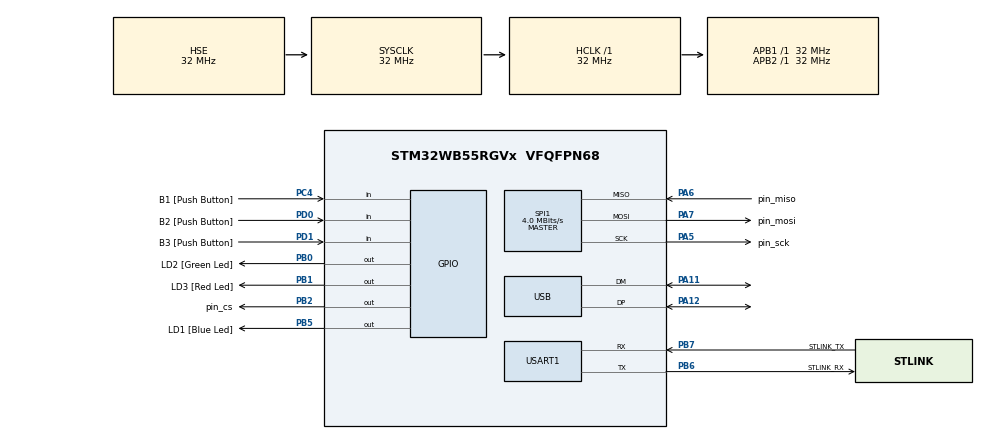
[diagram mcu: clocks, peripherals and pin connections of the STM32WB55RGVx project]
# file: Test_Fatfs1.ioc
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FATFS._MAX_SS=4096
FATFS._MIN_SS=4096
Mcu.Family=STM32WB
Mcu.Name=STM32WB55RGVx
Mcu.Package=VFQFPN68
NVIC.PriorityGroup=NVIC_PRIORITYGROUP_4
OSC_IN.Mode=HSE-External-Oscillator
OSC_IN.Signal=RCC_OSC_IN
OSC_OUT.Mode=HSE-External-Oscillator
OSC_OUT.Signal=RCC_OSC_OUT
PA11.Mode=Device
PA11.Signal=USB_DM
PA12.Mode=Device
PA12.Signal=USB_DP
PA13.GPIO_Label=JTMS
PA13.Mode=Trace_Asynchronous_SW
PA13.Signal=SYS_JTMS-SWDIO
PA14.GPIO_Label=JTCK
PA14.Mode=Trace_Asynchronous_SW
PA14.Signal=SYS_JTCK-SWCLK
PA5.GPIO_Label=pin_sck
PA5.Mode=Full_Duplex_Master
PA5.Signal=SPI1_SCK
PA6.GPIO_Label=pin_miso
PA6.Mode=Full_Duplex_Master
PA6.Signal=SPI1_MISO
PA7.GPIO_Label=pin_mosi
PA7.Mode=Full_Duplex_Master
PA7.Signal=SPI1_MOSI
PB0.GPIO_Label=LD2 [Green Led]
PB0.Signal=GPIO_Output
PB1.GPIO_Label=LD3 [Red Led]
PB1.Signal=GPIO_Output
PB2.GPIO_Label=pin_cs
PB2.GPIO_PuPd=GPIO_PULLUP
PB2.Signal=GPIO_Output
PB3.GPIO_Label=JTDO
PB3.Mode=Trace_Asynchronous_SW
PB3.Signal=SYS_JTDO-SWO
PB5.GPIO_Label=LD1 [Blue Led]
PB5.Signal=GPIO_Output
PB6.GPIO_Label=STLINK_RX
PB6.GPIO_PuPd=GPIO_PULLUP
PB6.Mode=Asynchronous
PB6.Signal=USART1_TX
PB7.GPIO_Label=STLINK_TX
PB7.GPIO_PuPd=GPIO_PULLUP
PB7.Mode=Asynchronous
PB7.Signal=USART1_RX
PC13.Mode=SYS_WakeUp1
PC13.Signal=SYS_WKUP2
PC14-OSC32_IN.Mode=LSE-External-Oscillator
PC14-OSC32_IN.Signal=RCC_OSC32_IN
PC15-OSC32_OUT.Mode=LSE-External-Oscillator
PC15-OSC32_OUT.Signal=RCC_OSC32_OUT
PC4.GPIO_Label=B1 [Push Button]
PC4.Signal=GPIO_Input
PD0.GPIO_Label=B2 [Push Button]
PD0.Signal=GPIO_Input
PD1.GPIO_Label=B3 [Push Button]
PD1.Signal=GPIO_Input
ProjectManager.HeapSize=0x200
ProjectManager.StackSize=0x400
ProjectManager.TargetToolchain=STM32CubeIDE
RCC.ADCFreq_Value=48000000
RCC.AHBFreq_Value=32000000
RCC.APB1Freq_Value=32000000
RCC.APB1TimFreq_Value=32000000
RCC.APB2Freq_Value=32000000
RCC.APB2TimFreq_Value=32000000
RCC.APB3Freq_Value=16000000
RCC.CortexFreq_Value=32000000
RCC.HCLKFreq_Value=32000000
RCC.HSE_VALUE=32000000
RCC.HSI48_VALUE=48000000
RCC.HSI_VALUE=16000000
RCC.PLLN=32
RCC.PLLSAI1N=24
RCC.SMPSCLockSelectionVirtual=RCC_SMPSCLKSOURCE_HSI
RCC.SMPSCLockSelectionVirtualVirtual=RCC_SMPSCLKSOURCE_HSI
RCC.SMPSDivider=1
RCC.SYSCLKFreq_VALUE=32000000
RCC.SYSCLKSource=RCC_SYSCLKSOURCE_HSE
RCC.USBFreq_Value=48000000
RCC.VCOOutputFreq_Value=128000000
SPI1.BaudRatePrescaler=SPI_BAUDRATEPRESCALER_8
SPI1.CalculateBaudRate=4.0 MBits/s
SPI1.DataSize=SPI_DATASIZE_8BIT
SPI1.Direction=SPI_DIRECTION_2LINES
SPI1.Mode=SPI_MODE_MASTER
SPI1.VirtualType=VM_MASTER
USART1.VirtualMode-Asynchronous=VM_ASYNC
USART1.WordLength=WORDLENGTH_7B
VP_FATFS_VS_Generic.Mode=User_defined
board=P-NUCLEO-WB55-Nucleo

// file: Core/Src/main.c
/* USER CODE BEGIN Header */
/**
  ******************************************************************************
  * @file           : main.c
  * @brief          : Main program body
  ******************************************************************************
  * @attention
  *
  * <h2><center>&copy; Copyright (c) 2022 STMicroelectronics.
  * All rights reserved.</center></h2>
  *
  * This software component is licensed by ST under BSD 3-Clause license,
  * the "License"; You may not use this file except in compliance with the
  * License. You may obtain a copy of the License at:
  *                        opensource.org/licenses/BSD-3-Clause
  *
  ******************************************************************************
  */
/* USER CODE END Header */
#include "main.h"
#include "app_fatfs.h"

/* USER CODE BEGIN Includes */
#include "flash_driver.h"
/* USER CODE END Includes */

SPI_HandleTypeDef hspi1;

UART_HandleTypeDef huart1;

PCD_HandleTypeDef hpcd_USB_FS;

void SystemClock_Config(void);
static void MX_GPIO_Init(void);
static void MX_USART1_UART_Init(void);
static void MX_USB_PCD_Init(void);
static void MX_SPI1_Init(void);

/* USER CODE BEGIN 0 */
extern FATFS USERFatFs;    /* File system object for USER logical drive */
extern FIL USERFile;       /* File  object for USER */
extern char USERPath[4];   /* USER logical drive path */

bool Comparer_Sector(uint8_t *compare_array, uint32_t sector_number);
/* USER CODE END 0 */

int main(void)
{

  /* MCU Configuration--------------------------------------------------------*/

  /* Reset of all peripherals, Initializes the Flash interface and the Systick. */
  HAL_Init();

  /* Configure the system clock */
  SystemClock_Config();

  /* Initialize all configured peripherals */
  MX_GPIO_Init();
  MX_USART1_UART_Init();
  MX_USB_PCD_Init();
  MX_SPI1_Init();
  if (MX_FATFS_Init() != APP_OK) {
    Error_Handler();
  }
  /* USER CODE BEGIN 2 */
  uint8_t wtext[] = "text to write logical disk"; /* File write buffer */
  uint8_t rtext[_MAX_SS];/* File read buffer */
  uint32_t byteswritten, bytesread; /* File write/read counts */
  uint32_t tickstart = HAL_GetTick();
  uint32_t duration = HAL_GetTick() - tickstart;

  FRESULT fat_result = FR_NO_FILESYSTEM;
  fat_result = f_mount(&USERFatFs, (TCHAR const*)USERPath, 0);
  fat_result = f_mkfs((TCHAR const*)USERPath, FM_ANY, 4096, rtext, sizeof(rtext));

  // Create File
  tickstart = HAL_GetTick();
  fat_result = f_open(&USERFile, "STM32.TXT", FA_CREATE_ALWAYS | FA_WRITE );
  fat_result = f_write(&USERFile, wtext, strlen((char *)wtext), (void *)&byteswritten);
  f_close(&USERFile);
  duration = HAL_GetTick() - tickstart;

  // Read File
  tickstart = HAL_GetTick();
  uint8_t read_data[1000];
  uint8_t number_read =1000;
  fat_result = f_open(&USERFile, "STM32.TXT", FA_READ);
  fat_result = f_read(&USERFile, read_data, sizeof(read_data), (UINT*)&bytesread);
  duration = HAL_GetTick() - tickstart;

//  Test_Flash(); HAL_Delay(100);
//
//  uint32_t wbytes; /* File write counts */
//  uint8_t wtext[] = "text to write logical disk"; /* File write buffer */
////  uint8_t wbuffer[32768] ; /* working buffer */c
//  uint8_t rtext[_MAX_SS];/* File read buffer */
//
//  FRESULT fat_result = FR_NO_FILESYSTEM;
//  fat_result = f_mount(&USERFatFs, (TCHAR const*)USERPath, 0);
//  HAL_Delay(100);
//  fat_result = f_mkfs((TCHAR const*)USERPath, FM_ANY, 4096, rtext, sizeof(rtext));
//  HAL_Delay(100);
//  fat_result = f_open(&USERFile, "STM32.TXT", FA_CREATE_ALWAYS | FA_WRITE);
//
//  Test_Flash2();
//  FATFS_UnLinkDriver(USERPath);

  /* USER CODE END 2 */

  /* Infinite loop */
  while (1)
  {

  }
}

void SystemClock_Config(void)
{
  RCC_OscInitTypeDef RCC_OscInitStruct = {0};
  RCC_ClkInitTypeDef RCC_ClkInitStruct = {0};
  RCC_PeriphCLKInitTypeDef PeriphClkInitStruct = {0};

  /** Macro to configure the PLL multiplication factor
  */
  __HAL_RCC_PLL_PLLM_CONFIG(RCC_PLLM_DIV1);
  /** Macro to configure the PLL clock source
  */
  __HAL_RCC_PLL_PLLSOURCE_CONFIG(RCC_PLLSOURCE_MSI);
  /** Configure LSE Drive Capability
  */
  HAL_PWR_EnableBkUpAccess();
  __HAL_RCC_LSEDRIVE_CONFIG(RCC_LSEDRIVE_LOW);
  /** Configure the main internal regulator output voltage
  */
  __HAL_PWR_VOLTAGESCALING_CONFIG(PWR_REGULATOR_VOLTAGE_SCALE1);
  /** Initializes the RCC Oscillators according to the specified parameters
  * in the RCC_OscInitTypeDef structure.
  */
  RCC_OscInitStruct.OscillatorType = RCC_OSCILLATORTYPE_HSI|RCC_OSCILLATORTYPE_HSE
                              |RCC_OSCILLATORTYPE_LSE|RCC_OSCILLATORTYPE_MSI;
  RCC_OscInitStruct.HSEState = RCC_HSE_ON;
  RCC_OscInitStruct.LSEState = RCC_LSE_ON;
  RCC_OscInitStruct.HSIState = RCC_HSI_ON;
  RCC_OscInitStruct.MSIState = RCC_MSI_ON;
  RCC_OscInitStruct.HSICalibrationValue = RCC_HSICALIBRATION_DEFAULT;
  RCC_OscInitStruct.MSICalibrationValue = RCC_MSICALIBRATION_DEFAULT;
  RCC_OscInitStruct.MSIClockRange = RCC_MSIRANGE_6;
  RCC_OscInitStruct.PLL.PLLState = RCC_PLL_NONE;
  if (HAL_RCC_OscConfig(&RCC_OscInitStruct) != HAL_OK)
  {
    Error_Handler();
  }
  /** Configure the SYSCLKSource, HCLK, PCLK1 and PCLK2 clocks dividers
  */
  RCC_ClkInitStruct.ClockType = RCC_CLOCKTYPE_HCLK4|RCC_CLOCKTYPE_HCLK2
                              |RCC_CLOCKTYPE_HCLK|RCC_CLOCKTYPE_SYSCLK
                              |RCC_CLOCKTYPE_PCLK1|RCC_CLOCKTYPE_PCLK2;
  RCC_ClkInitStruct.SYSCLKSource = RCC_SYSCLKSOURCE_HSE;
  RCC_ClkInitStruct.AHBCLKDivider = RCC_SYSCLK_DIV1;
  RCC_ClkInitStruct.APB1CLKDivider = RCC_HCLK_DIV1;
  RCC_ClkInitStruct.APB2CLKDivider = RCC_HCLK_DIV1;
  RCC_ClkInitStruct.AHBCLK2Divider = RCC_SYSCLK_DIV1;
  RCC_ClkInitStruct.AHBCLK4Divider = RCC_SYSCLK_DIV1;

  if (HAL_RCC_ClockConfig(&RCC_ClkInitStruct, FLASH_LATENCY_1) != HAL_OK)
  {
    Error_Handler();
  }
  /** Initializes the peripherals clocks
  */
  PeriphClkInitStruct.PeriphClockSelection = RCC_PERIPHCLK_SMPS|RCC_PERIPHCLK_USART1
                              |RCC_PERIPHCLK_USB;
  PeriphClkInitStruct.PLLSAI1.PLLN = 24;
  PeriphClkInitStruct.PLLSAI1.PLLP = RCC_PLLP_DIV2;
  PeriphClkInitStruct.PLLSAI1.PLLQ = RCC_PLLQ_DIV2;
  PeriphClkInitStruct.PLLSAI1.PLLR = RCC_PLLR_DIV2;
  PeriphClkInitStruct.PLLSAI1.PLLSAI1ClockOut = RCC_PLLSAI1_USBCLK;
  PeriphClkInitStruct.Usart1ClockSelection = RCC_USART1CLKSOURCE_PCLK2;
  PeriphClkInitStruct.UsbClockSelection = RCC_USBCLKSOURCE_PLLSAI1;
  PeriphClkInitStruct.SmpsClockSelection = RCC_SMPSCLKSOURCE_HSI;
  PeriphClkInitStruct.SmpsDivSelection = RCC_SMPSCLKDIV_RANGE0;
  if (HAL_RCCEx_PeriphCLKConfig(&PeriphClkInitStruct) != HAL_OK)
  {
    Error_Handler();
  }
  /** Enable MSI Auto calibration
  */
  HAL_RCCEx_EnableMSIPLLMode();
}

static void MX_SPI1_Init(void)
{

  /* SPI1 parameter configuration*/
  hspi1.Instance = SPI1;
  hspi1.Init.Mode = SPI_MODE_MASTER;
  hspi1.Init.Direction = SPI_DIRECTION_2LINES;
  hspi1.Init.DataSize = SPI_DATASIZE_8BIT;
  hspi1.Init.CLKPolarity = SPI_POLARITY_LOW;
  hspi1.Init.CLKPhase = SPI_PHASE_1EDGE;
  hspi1.Init.NSS = SPI_NSS_SOFT;
  hspi1.Init.BaudRatePrescaler = SPI_BAUDRATEPRESCALER_8;
  hspi1.Init.FirstBit = SPI_FIRSTBIT_MSB;
  hspi1.Init.TIMode = SPI_TIMODE_DISABLE;
  hspi1.Init.CRCCalculation = SPI_CRCCALCULATION_DISABLE;
  hspi1.Init.CRCPolynomial = 7;
  hspi1.Init.CRCLength = SPI_CRC_LENGTH_DATASIZE;
  hspi1.Init.NSSPMode = SPI_NSS_PULSE_ENABLE;
  if (HAL_SPI_Init(&hspi1) != HAL_OK)
  {
    Error_Handler();
  }

}

static void MX_USART1_UART_Init(void)
{

  huart1.Instance = USART1;
  huart1.Init.BaudRate = 115200;
  huart1.Init.WordLength = UART_WORDLENGTH_7B;
  huart1.Init.StopBits = UART_STOPBITS_1;
  huart1.Init.Parity = UART_PARITY_NONE;
  huart1.Init.Mode = UART_MODE_TX_RX;
  huart1.Init.HwFlowCtl = UART_HWCONTROL_NONE;
  huart1.Init.OverSampling = UART_OVERSAMPLING_16;
  huart1.Init.OneBitSampling = UART_ONE_BIT_SAMPLE_DISABLE;
  huart1.Init.ClockPrescaler = UART_PRESCALER_DIV1;
  huart1.AdvancedInit.AdvFeatureInit = UART_ADVFEATURE_NO_INIT;
  if (HAL_UART_Init(&huart1) != HAL_OK)
  {
    Error_Handler();
  }
  if (HAL_UARTEx_SetTxFifoThreshold(&huart1, UART_TXFIFO_THRESHOLD_1_8) != HAL_OK)
  {
    Error_Handler();
  }
  if (HAL_UARTEx_SetRxFifoThreshold(&huart1, UART_RXFIFO_THRESHOLD_1_8) != HAL_OK)
  {
    Error_Handler();
  }
  if (HAL_UARTEx_DisableFifoMode(&huart1) != HAL_OK)
  {
    Error_Handler();
  }

}

static void MX_USB_PCD_Init(void)
{

  hpcd_USB_FS.Instance = USB;
  hpcd_USB_FS.Init.dev_endpoints = 8;
  hpcd_USB_FS.Init.speed = PCD_SPEED_FULL;
  hpcd_USB_FS.Init.phy_itface = PCD_PHY_EMBEDDED;
  hpcd_USB_FS.Init.Sof_enable = DISABLE;
  hpcd_USB_FS.Init.low_power_enable = DISABLE;
  hpcd_USB_FS.Init.lpm_enable = DISABLE;
  hpcd_USB_FS.Init.battery_charging_enable = DISABLE;
  if (HAL_PCD_Init(&hpcd_USB_FS) != HAL_OK)
  {
    Error_Handler();
  }

}

static void MX_GPIO_Init(void)
{
  GPIO_InitTypeDef GPIO_InitStruct = {0};

  /* GPIO Ports Clock Enable */
  __HAL_RCC_GPIOC_CLK_ENABLE();
  __HAL_RCC_GPIOA_CLK_ENABLE();
  __HAL_RCC_GPIOB_CLK_ENABLE();
  __HAL_RCC_GPIOD_CLK_ENABLE();

  /*Configure GPIO pin Output Level */
  HAL_GPIO_WritePin(GPIOB, pin_cs_Pin|LD2_Pin|LD3_Pin|LD1_Pin, GPIO_PIN_RESET);

  /*Configure GPIO pin : B1_Pin */
  GPIO_InitStruct.Pin = B1_Pin;
  GPIO_InitStruct.Mode = GPIO_MODE_INPUT;
  GPIO_InitStruct.Pull = GPIO_NOPULL;
  HAL_GPIO_Init(B1_GPIO_Port, &GPIO_InitStruct);

  /*Configure GPIO pin : pin_cs_Pin */
  GPIO_InitStruct.Pin = pin_cs_Pin;
  GPIO_InitStruct.Mode = GPIO_MODE_OUTPUT_PP;
  GPIO_InitStruct.Pull = GPIO_PULLUP;
  GPIO_InitStruct.Speed = GPIO_SPEED_FREQ_LOW;
  HAL_GPIO_Init(pin_cs_GPIO_Port, &GPIO_InitStruct);

  /*Configure GPIO pins : LD2_Pin LD3_Pin LD1_Pin */
  GPIO_InitStruct.Pin = LD2_Pin|LD3_Pin|LD1_Pin;
  GPIO_InitStruct.Mode = GPIO_MODE_OUTPUT_PP;
  GPIO_InitStruct.Pull = GPIO_NOPULL;
  GPIO_InitStruct.Speed = GPIO_SPEED_FREQ_LOW;
  HAL_GPIO_Init(GPIOB, &GPIO_InitStruct);

  /*Configure GPIO pins : B2_Pin B3_Pin */
  GPIO_InitStruct.Pin = B2_Pin|B3_Pin;
  GPIO_InitStruct.Mode = GPIO_MODE_INPUT;
  GPIO_InitStruct.Pull = GPIO_NOPULL;
  HAL_GPIO_Init(GPIOD, &GPIO_InitStruct);

}

/* USER CODE BEGIN 4 */
void Test_Flash1(uint32_t sector_number)
{
  /* USER CODE BEGIN Error_Handler_Debug */

	  uint8_t write_data[4096];
	  uint8_t read_data[4096];
	  for (int i = 0; i < 4096; ++i){write_data[i] = i%256;}
	  for (int i = 0; i < 4096; ++i){read_data[i] = 1;}

	  W25q64_Read_Sector_Entire(read_data,sector_number);
	  W25q64_Write_Sector_Entire(write_data,sector_number);
//	  W25q64_Sector_Erase(sector_number);
	  W25q64_Read_Sector_Entire(read_data,sector_number);
  /* USER CODE END Error_Handler_Debug */
}

void Test_Flash2(void)
{
  /* USER CODE BEGIN Error_Handler_Debug */
	  uint8_t read_data[4096];
	  for (int i = 0; i < 4096; ++i){read_data[i] = 1;}
	  W25q64_Read_Sector_Entire(read_data,0);
  /* USER CODE END Error_Handler_Debug */
}

bool Comparer_Sector(uint8_t *compare_array, uint32_t sector_number)
{
	bool check_value = true;
	uint8_t read_data[4096];

	for (int i = 0; i < 4096; ++i){read_data[i] = 99;}
	W25q64_Read_Sector_Entire(read_data,sector_number);

	for (int i = 0; i < 4096; ++i)
	{
		if (read_data[i] != compare_array[i]) {check_value = false;}
	}

	return check_value;
}

/* USER CODE END 4 */

void Error_Handler(void)
{
}

/************************ (C) COPYRIGHT STMicroelectronics *****END OF FILE****/
